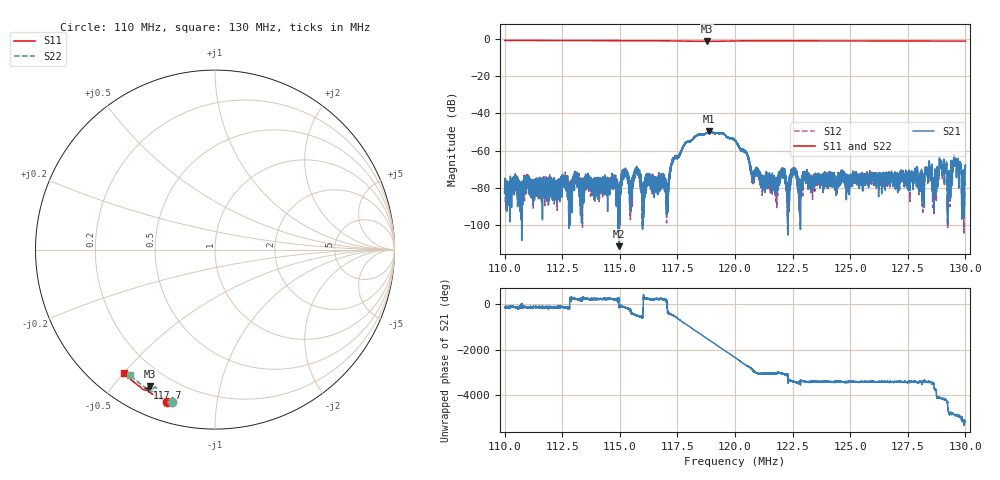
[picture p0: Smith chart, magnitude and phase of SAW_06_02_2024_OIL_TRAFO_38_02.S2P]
!Agilent Technologies,E5071C,MY46520923,B.12.03
!Date: Tue Feb 06 09:44:28 2024
!Data & Calibration Information:
!Freq	S11:SOLT2(ON)	S21:SOLT2(ON)	S12:SOLT2(ON)	S22:SOLT2(ON)
!PortZ  Port1:50+j0  Port2:50+j0
!Above PortZ is port z conversion or system Z0 setting when saving the data.
!When reading, reference impedance value at option line is always used.
# Hz S dB R 50
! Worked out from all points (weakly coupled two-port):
!   10000 points, 110 MHz to 130 MHz, reference 50 ohm
!   highest |S21| = -49.67 dB at 118.9 MHz (marker M1); lowest = -111.2 dB at 115 MHz (marker M2)
!   lowest |S11| = -1.5 dB at 118.8 MHz (marker M3), VSWR 11.69, Z = 5.97 - j31.3 ohm
!   |S11| at or under -10 dB: nowhere
!   |S22| runs from -1.6 to -1.1 dB; largest |S21 - S12| = 0.00019
!   S11 on the Smith chart (normalised r, x): 110 MHz: 0.09, -0.73; 117.7 MHz: 0.11, -0.62; 130 MHz: 0.10, -0.50
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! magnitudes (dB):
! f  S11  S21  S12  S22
! 110 MHz  -1.0  -81.9  -78.8  -1.1
! 113.3 MHz  -1.1  -82.6  -85.8  -1.2
! 115 MHz  -1.1  -111.2  -85.1  -1.2
! 115.7 MHz  -1.1  -72.1  -70.8  -1.2
! 116 MHz  -1.1  -80.9  -87.6  -1.2
! 116.7 MHz  -1.2  -79.0  -75.6  -1.3
! 117.1 MHz  -1.2  -81.9  -88.8  -1.3
! 117.3 MHz  -1.2  -64.8  -65.5  -1.4
! 117.7 MHz  -1.3  -59.2  -59.1  -1.4
! 118.8 MHz  -1.5  -50.7  -50.4  -1.6
! 118.9 MHz  -1.5  -49.7  -49.9  -1.6
! 120 MHz  -1.3  -54.6  -54.5  -1.4
! 121.2 MHz  -1.2  -75.5  -77.3  -1.2
! 122.6 MHz  -1.2  -69.7  -72.4  -1.3
! 123.3 MHz  -1.2  -75.2  -76.9  -1.3
! 126.7 MHz  -1.3  -73.8  -73.0  -1.4
! 128.5 MHz  -1.3  -73.3  -71.9  -1.4
! 128.7 MHz  -1.3  -79.1  -77.3  -1.4
! 129 MHz  -1.3  -67.4  -67.9  -1.5
! 129.3 MHz  -1.4  -70.7  -73.6  -1.5
! 129.6 MHz  -1.4  -65.4  -65.8  -1.5
! 130 MHz  -1.4  -68.7  -68.4  -1.5
